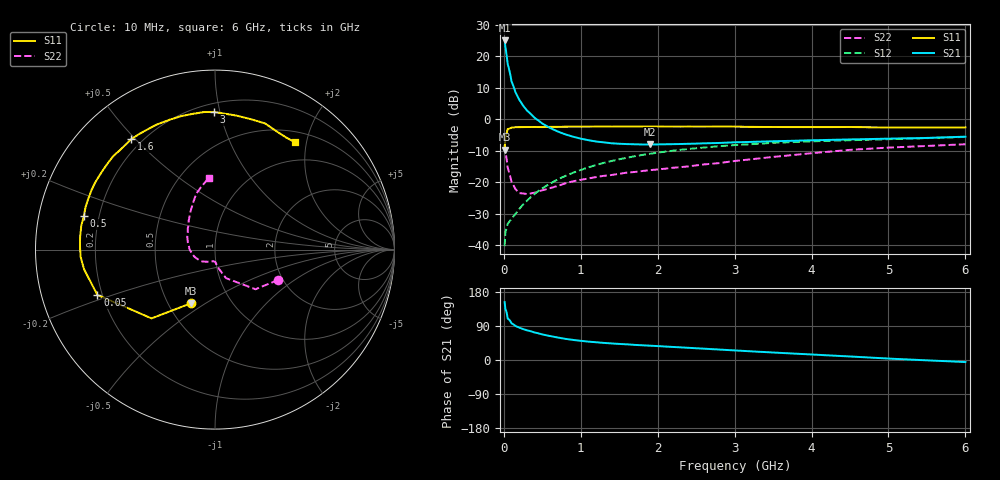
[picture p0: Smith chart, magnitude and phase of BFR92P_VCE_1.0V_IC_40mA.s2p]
! Infineon Technologies  Discrete & RF Semiconductors
! BFR92P
! VCE =  1.0 V,  IC =  40 mA
! Common Emitter S-Parameters:  Apr 2014
# GHz  S  MA  R  50
!  f  S11  S21  S12  S22
! GHz  MAG  ANG  MAG  ANG  MAG  ANG  MAG  ANG
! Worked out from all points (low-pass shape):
!   77 points, 10 MHz to 6 GHz, reference 50 ohm
!   highest |S21| = 25.05 dB at 10 MHz (marker M1); lowest = -8.0 dB at 1.9 GHz (marker M2)
!   |S21| within 3 dB of the highest: start of sweep to 26.51 MHz
!   lowest |S11| = -9.6 dB at 10 MHz (marker M3), VSWR 1.98, Z = 32.3 - j21.7 ohm
!   |S11| at or under -10 dB: nowhere
!   |S22| runs from -23.7 to -7.9 dB; largest |S21 - S12| = 18
!   S11 on the Smith chart (normalised r, x): 10 MHz: 0.65, -0.43; 50 MHz: 0.18, -0.18; 500 MHz: 0.14, +0.12; 1.6 GHz: 0.16, +0.49; 3 GHz: 0.26, +0.96; 6 GHz: 0.67, +1.79
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0.01  0.3293 -114.4  17.88 152.8  0.0097 57.0  0.3897 -25.7
0.02  0.5214 -132.7  14.3 135.0  0.0159 48.0  0.3159 -44.4
0.05  0.702 -158.9  7.57 109.5  0.0219 37.9  0.1706 -68.9
0.1  0.7377 -171.4  4.001 96.6  0.0263 43.1  0.1015 -80.6
0.15  0.75 -177.0  2.712 89.8  0.0314 50.2  0.0784 -85.6
0.2  0.7519 179.3  2.053 85.5  0.0377 56.2  0.0675 -89.8
0.25  0.7537 176.3  1.656 81.6  0.0444 60.1  0.0666 -94.8
0.3  0.7549 174.1  1.385 78.4  0.0509 62.9  0.0652 -97.9
0.4  0.7569 169.7  1.057 72.6  0.0654 66.3  0.0685 -106.5
0.5  0.7539 165.7  0.859 67.5  0.0805 67.9  0.0748 -114.6
0.6  0.759 162.0  0.731 63.2  0.0955 68.2  0.0808 -123.4
0.8  0.7634 154.6  0.577 55.8  0.1265 67.4  0.0965 -136.6
1.1  0.7657 144.1  0.466 48.5  0.173 63.7  0.1152 -155.5
1.6  0.7725 127.3  0.405 41.3  0.2457 55.2  0.1429 178.3
1.9  0.7678 118.3  0.399 37.8  0.284 49.6  0.1562 165.6
2.1  0.7666 112.4  0.402 35.5  0.3073 46.2  0.165 158.3
3  0.7667 90.3  0.432 25.3  0.3901 31.4  0.2182 132.2
3.1  0.763 88.5  0.435 24.2  0.3963 29.8  0.2246 130.0
3.5  0.7562 81.0  0.449 19.8  0.4238 23.9  0.2532 122.5
4.1  0.7535 73.4  0.468 13.5  0.4506 16.4  0.2972 113.4
5.1  0.7417 61.5  0.496 2.8  0.4879 5.7  0.3605 101.8
6  0.745 53.4  0.531 -5.4  0.5264 -3.7  0.4025 94.6
